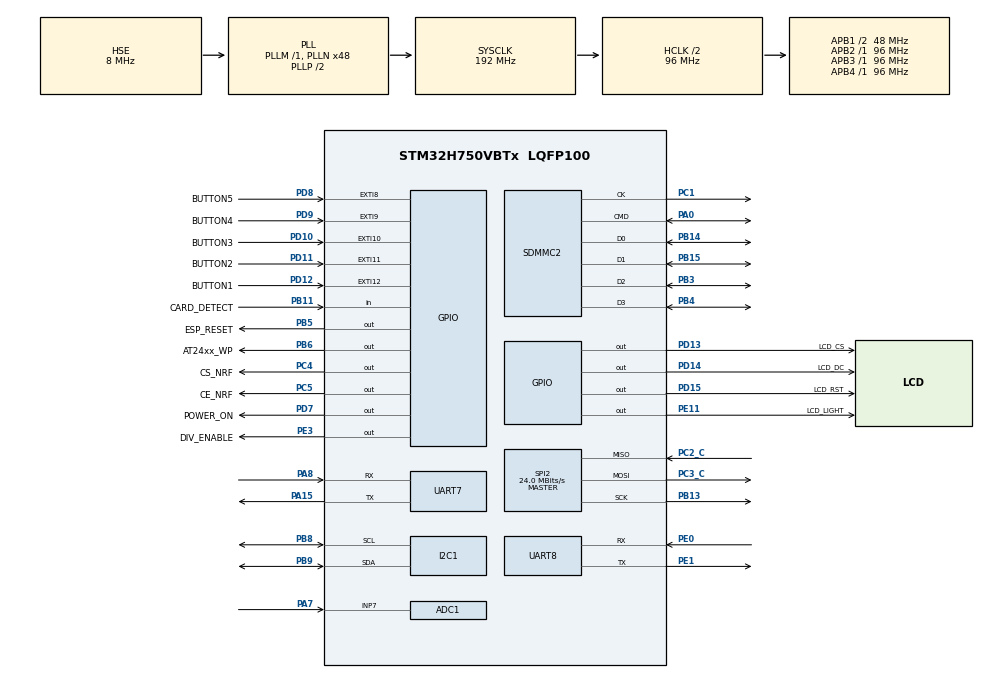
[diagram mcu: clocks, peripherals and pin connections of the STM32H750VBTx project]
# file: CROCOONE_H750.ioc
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ADC1.Channel-2\#ChannelRegularConversion=ADC_CHANNEL_7
ADC1.NbrOfConversionFlag=1
ADC1.OffsetNumber-2\#ChannelRegularConversion=ADC_OFFSET_NONE
ADC1.OffsetSignedSaturation-2\#ChannelRegularConversion=DISABLE
ADC1.Rank-2\#ChannelRegularConversion=1
ADC1.SamplingTime-2\#ChannelRegularConversion=ADC_SAMPLETIME_1CYCLE_5
ADC1.master=1
FATFS.BSP.number=1
FATFS._FS_EXFAT=1
FATFS._USE_LFN=2
FATFS0.BSP.STBoard=false
FATFS0.BSP.api=Unknown
FATFS0.BSP.instance=PB11
FATFS0.BSP.ip=GPIO
FATFS0.BSP.mode=Input
FATFS0.BSP.name=Detect_SDIO
FATFS0.BSP.solution=PB11
I2C1.Timing=0x20303E5D
Mcu.Family=STM32H7
Mcu.Name=STM32H750VBTx
Mcu.Package=LQFP100
NVIC.EXTI15_10_IRQn=true\:1\:0\:true\:false\:true\:true\:true\:true
NVIC.EXTI9_5_IRQn=true\:1\:0\:true\:false\:true\:true\:true\:true
NVIC.PriorityGroup=NVIC_PRIORITYGROUP_4
NVIC.TIM2_IRQn=true\:2\:0\:true\:false\:true\:true\:true\:true
NVIC.UART8_IRQn=true\:3\:0\:true\:false\:true\:true\:true\:true
PA0.Mode=SD_4_bits_Wide_bus
PA0.Signal=SDMMC2_CMD
PA13\ (JTMS/SWDIO).Mode=Serial_Wire
PA13\ (JTMS/SWDIO).Signal=DEBUG_JTMS-SWDIO
PA14\ (JTCK/SWCLK).Mode=Serial_Wire
PA14\ (JTCK/SWCLK).Signal=DEBUG_JTCK-SWCLK
PA15\ (JTDI).Mode=Asynchronous
PA15\ (JTDI).Signal=UART7_TX
PA7.Signal=ADCx_INP7
PA8.Mode=Asynchronous
PA8.Signal=UART7_RX
PB11.GPIO_Label=CARD_DETECT
PB11.GPIO_PuPd=GPIO_PULLUP
PB11.Signal=GPIO_Input
PB13.Mode=Full_Duplex_Master
PB13.Signal=SPI2_SCK
PB14.Mode=SD_4_bits_Wide_bus
PB14.Signal=SDMMC2_D0
PB15.Mode=SD_4_bits_Wide_bus
PB15.Signal=SDMMC2_D1
PB3\ (JTDO/TRACESWO).Mode=SD_4_bits_Wide_bus
PB3\ (JTDO/TRACESWO).Signal=SDMMC2_D2
PB4\ (NJTRST).Mode=SD_4_bits_Wide_bus
PB4\ (NJTRST).Signal=SDMMC2_D3
PB5.GPIO_Label=ESP_RESET
PB5.Signal=GPIO_Output
PB6.GPIO_Label=AT24xx_WP
PB6.GPIO_PuPd=GPIO_PULLUP
PB6.PinState=GPIO_PIN_SET
PB6.Signal=GPIO_Output
PB8.Mode=I2C
PB8.Signal=I2C1_SCL
PB9.Mode=I2C
PB9.Signal=I2C1_SDA
PC1.Mode=SD_4_bits_Wide_bus
PC1.Signal=SDMMC2_CK
PC2_C.Mode=Full_Duplex_Master
PC2_C.Signal=SPI2_MISO
PC3_C.Mode=Full_Duplex_Master
PC3_C.Signal=SPI2_MOSI
PC4.GPIO_Label=CS_NRF
PC4.Signal=GPIO_Output
PC5.GPIO_Label=CE_NRF
PC5.Signal=GPIO_Output
PD10.GPIO_Label=BUTTON3
PD10.GPIO_ModeDefaultEXTI=GPIO_MODE_IT_FALLING
PD10.GPIO_PuPd=GPIO_PULLUP
PD10.Signal=GPXTI10
PD11.GPIO_Label=BUTTON2
PD11.GPIO_ModeDefaultEXTI=GPIO_MODE_IT_FALLING
PD11.GPIO_PuPd=GPIO_PULLUP
PD11.Signal=GPXTI11
PD12.GPIO_Label=BUTTON1
PD12.GPIO_ModeDefaultEXTI=GPIO_MODE_IT_FALLING
PD12.GPIO_PuPd=GPIO_PULLUP
PD12.Signal=GPXTI12
PD13.GPIO_Label=LCD_CS
PD13.Signal=GPIO_Output
PD14.GPIO_Label=LCD_DC
PD14.Signal=GPIO_Output
PD15.GPIO_Label=LCD_RST
PD15.Signal=GPIO_Output
PD7.GPIO_Label=POWER_ON
PD7.Signal=GPIO_Output
PD8.GPIO_Label=BUTTON5
PD8.GPIO_ModeDefaultEXTI=GPIO_MODE_IT_FALLING
PD8.GPIO_PuPd=GPIO_PULLUP
PD8.Signal=GPXTI8
PD9.GPIO_Label=BUTTON4
PD9.GPIO_ModeDefaultEXTI=GPIO_MODE_IT_FALLING
PD9.GPIO_PuPd=GPIO_PULLUP
PD9.Signal=GPXTI9
PE0.Mode=Asynchronous
PE0.Signal=UART8_RX
PE1.Mode=Asynchronous
PE1.Signal=UART8_TX
PE11.GPIO_Label=LCD_LIGHT
PE11.Signal=GPIO_Output
PE3.GPIO_Label=DIV_ENABLE
PE3.GPIO_PuPd=GPIO_PULLUP
PE3.PinState=GPIO_PIN_SET
PE3.Signal=GPIO_Output
PH0-OSC_IN\ (PH0).Mode=HSE-External-Oscillator
PH0-OSC_IN\ (PH0).Signal=RCC_OSC_IN
PH1-OSC_OUT\ (PH1).Mode=HSE-External-Oscillator
PH1-OSC_OUT\ (PH1).Signal=RCC_OSC_OUT
ProjectManager.HeapSize=0x200
ProjectManager.StackSize=0x400
ProjectManager.TargetToolchain=STM32CubeIDE
RCC.ADCFreq_Value=12000000
RCC.APB1Freq_Value=48000000
RCC.APB2Freq_Value=96000000
RCC.APB3Freq_Value=96000000
RCC.APB4Freq_Value=96000000
RCC.CortexFreq_Value=192000000
RCC.D2PPRE1=RCC_APB1_DIV2
RCC.DIVM1=1
RCC.DIVM2=4
RCC.DIVN1=48
RCC.DIVN2=96
RCC.DIVP2=16
RCC.DIVQ1=4
RCC.HCLKFreq_Value=96000000
RCC.HPRE=RCC_HCLK_DIV2
RCC.HSE_VALUE=8000000
RCC.PLLFRACN=0
RCC.PLLSourceVirtual=RCC_PLLSOURCE_HSE
RCC.SYSCLKFreq_VALUE=192000000
RCC.SYSCLKSource=RCC_SYSCLKSOURCE_PLLCLK
RCC.USBFreq_Value=96000000
SDMMC2.ClockDiv=8
SH.ADCx_INP7.0=ADC1_INP7,IN7-Single-Ended
SPI2.BaudRatePrescaler=SPI_BAUDRATEPRESCALER_4
SPI2.CalculateBaudRate=24.0 MBits/s
SPI2.DataSize=SPI_DATASIZE_8BIT
SPI2.Direction=SPI_DIRECTION_2LINES
SPI2.Mode=SPI_MODE_MASTER
SPI2.VirtualType=VM_MASTER
TIM1.Prescaler=96-1
TIM2.Period=10000
TIM2.Prescaler=960-1
VP_FATFS_VS_SDIO.Mode=SDIO
VP_TIM1_VS_ClockSourceINT.Mode=Internal
VP_TIM2_VS_ClockSourceINT.Mode=Internal
board=custom

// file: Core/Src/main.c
/* USER CODE BEGIN Header */
/**
  ******************************************************************************
  * @file           : main.c
  * @brief          : Main program body
  ******************************************************************************
  * @attention
  *
  * Copyright (c) 2023 STMicroelectronics.
  * All rights reserved.
  *
  * This software is licensed under terms that can be found in the LICENSE file
  * in the root directory of this software component.
  * If no LICENSE file comes with this software, it is provided AS-IS.
  *
  ******************************************************************************
  */
/* USER CODE END Header */
#include "main.h"
#include "fatfs.h"

/* USER CODE BEGIN Includes */
#include "SETTINGS.h"
#include "ESP32_WiFi.h"
#include "GFX_FUNCTIONS.h"
#include "NRF_RADIO.h"
#include "button.h"
#include "EEPROM.h"

#include <stdbool.h>
#include <string.h>

#define POWER_SUPPLY_VOLTAGE		3.269f
#define ADC_MAX						0xFFFF
#define DIVIDER_R1 					10.04f
#define DIVIDER_R2 					18.05f
#define MIN_BATTERY_VOLTAGE 		3.0f
#define MAX_BATTERY_VOLTAGE 		4.2f

float batteryVoltage = 0;
uint16_t adcData = 0;
int batteryPercent = 0;
/* USER CODE END Includes */

ADC_HandleTypeDef hadc1;

I2C_HandleTypeDef hi2c1;

SD_HandleTypeDef hsd2;

SPI_HandleTypeDef hspi2;

TIM_HandleTypeDef htim1;
TIM_HandleTypeDef htim2;

UART_HandleTypeDef huart7;
UART_HandleTypeDef huart8;

void SystemClock_Config(void);
static void MX_GPIO_Init(void);
static void MX_SDMMC2_SD_Init(void);
static void MX_SPI2_Init(void);
static void MX_TIM1_Init(void);
static void MX_TIM2_Init(void);
static void MX_UART7_Init(void);
static void MX_UART8_Init(void);
static void MX_I2C1_Init(void);
static void MX_ADC1_Init(void);

/* USER CODE BEGIN 0 */
// External Interrupt ISR Handler CallBackFun

/* USER CODE END 0 */

int main(void)
{

  /* MCU Configuration--------------------------------------------------------*/

  /* Reset of all peripherals, Initializes the Flash interface and the Systick. */
  HAL_Init();

  /* Configure the system clock */
  SystemClock_Config();

  /* Initialize all configured peripherals */
  MX_GPIO_Init();
  MX_SDMMC2_SD_Init();
  MX_SPI2_Init();
  MX_TIM1_Init();
  MX_TIM2_Init();
  MX_UART7_Init();
  MX_UART8_Init();
  MX_FATFS_Init();
  MX_I2C1_Init();
  MX_ADC1_Init();
  /* USER CODE BEGIN 2 */

  HAL_GPIO_WritePin(POWER_ON_GPIO_Port, POWER_ON_Pin, GPIO_PIN_SET); //power on
  HAL_Delay(50);

  HAL_GPIO_WritePin(LCD_LIGHT_GPIO_Port, LCD_LIGHT_Pin, GPIO_PIN_RESET);
  ST7735_Init(1);
  fillScreen(MAIN_BG_COLOR);
  HAL_GPIO_WritePin(ESP_RESET_GPIO_Port, ESP_RESET_Pin, GPIO_PIN_SET);
  HAL_Delay(50);
  HAL_GPIO_WritePin(ESP_RESET_GPIO_Port, ESP_RESET_Pin, GPIO_PIN_RESET);
  HAL_GPIO_WritePin(LCD_LIGHT_GPIO_Port, LCD_LIGHT_Pin, GPIO_PIN_SET);

  ESP32_AT_UART_Init();
  Radio_Init();
  powerDown();
  ButtonsInit(5);
  AddButton(BUTTON_UP, BUTTON1_GPIO_Port, BUTTON1_Pin);
  AddButton(BUTTON_RIGHT, BUTTON2_GPIO_Port, BUTTON2_Pin);
  AddButton(BUTTON_CONFIRM, BUTTON3_GPIO_Port, BUTTON3_Pin);
  AddButton(BUTTON_LEFT, BUTTON4_GPIO_Port, BUTTON4_Pin);
  AddButton(BUTTON_DOWN, BUTTON5_GPIO_Port, BUTTON5_Pin);

  eeprom_init();

  int menu_set = 0;
  const int max_menu_set = 7;
  bool clear = 0;
  bool screen_update = 1;

  eButtonEvent button_up, button_down;
  uint32_t hold_timer = 0;

  char battery_persent_disp[10] = {};
  uint32_t tick_time = 0;
  /* USER CODE END 2 */

  /* Infinite loop */
  /* USER CODE BEGIN WHILE */
  while (1)
  {
		if (HAL_GetTick() - tick_time > 10000 || screen_update) {
			tick_time = HAL_GetTick();

			HAL_GPIO_WritePin(DIV_ENABLE_GPIO_Port, DIV_ENABLE_Pin, GPIO_PIN_RESET); //div enable

			HAL_ADC_Start(&hadc1);

			HAL_ADC_PollForConversion(&hadc1, 100);

			adcData = HAL_ADC_GetValue(&hadc1);

			HAL_ADC_Stop(&hadc1);

			HAL_GPIO_WritePin(DIV_ENABLE_GPIO_Port, DIV_ENABLE_Pin, GPIO_PIN_SET);

			batteryVoltage = POWER_SUPPLY_VOLTAGE * adcData / ADC_MAX;
			batteryVoltage = batteryVoltage / (DIVIDER_R2 / (DIVIDER_R1 + DIVIDER_R2));
			batteryPercent = (int)(((batteryVoltage - MIN_BATTERY_VOLTAGE) / (MAX_BATTERY_VOLTAGE  - MIN_BATTERY_VOLTAGE)) * 100.0f);
			if (batteryPercent < 0)
			  batteryPercent = 0;
			else if (batteryPercent > 100)
			  batteryPercent = 100;

			sprintf(battery_persent_disp, "%3d%%", batteryPercent);
			ST7735_WriteString(110, 0, battery_persent_disp, Font_11x18, MAIN_TXT_COLOR, MAIN_BG_COLOR);
		}

	    button_up = GetButtonState(BUTTON_UP);
	    button_down = GetButtonState(BUTTON_DOWN);

		if (button_down == SINGLE_CLICK || (button_down == HOLD && HAL_GetTick() - hold_timer > HOLD_MENU_DELLAY)) {
			menu_set = (menu_set + 1) % max_menu_set;
			screen_update = 1;

			hold_timer = HAL_GetTick();
		}
		if (button_up == SINGLE_CLICK || (button_up == HOLD && HAL_GetTick() - hold_timer > HOLD_MENU_DELLAY)) {
			menu_set = (menu_set - 1) % max_menu_set;
			if (menu_set < 0) menu_set = max_menu_set;
			screen_update = 1;

			hold_timer = HAL_GetTick();
		}

		if (clear) {
			fillScreen(MAIN_BG_COLOR);
			clear = 0;
		}

		if (screen_update) {
			sprintf(battery_persent_disp, "%3d%%", batteryPercent);
			ST7735_WriteString(0, 0, "CROCOONE", Font_11x18, MAIN_TXT_COLOR, MAIN_BG_COLOR);
			ST7735_WriteString(110, 0, battery_persent_disp, Font_11x18, MAIN_TXT_COLOR, MAIN_BG_COLOR);
			drawMenu((char * []) {"Scan WiFi", "Attacks", "Ch Analyzer", "Pkt Analyzer", "Jammer", "PMKID", "power off"}, max_menu_set, 1, 30, 159, 127, menu_set, Font_11x18, MAIN_TXT_COLOR, MAIN_BG_COLOR);
			drawRect(0, 29, 160, 99, MAIN_TXT_COLOR);
			screen_update = 0;
		}

		if (GetButtonState(BUTTON_CONFIRM) == SINGLE_CLICK) {
			clear = 1;
			if (menu_set == 0) {
				ESP32_scan_loop();
			} else if (menu_set == 1) {
				ESP32_attacks_loop();
			} else if (menu_set == 2) {
				NRF_ChannelAnalyzer_loop();
			} else if (menu_set == 3) {
				ESP32_pkt_analyzer_loop();
			} else if (menu_set == 4) {
				NRF_Jammer();
			} else if (menu_set == 5) {
				ESP32_start_pmkid_attack();
			} else if (menu_set == 6) {
				break;
			}
			ClearAllButtons();
			screen_update = 1;
		}

    /* USER CODE END WHILE */

    /* USER CODE BEGIN 3 */
  }
  HAL_GPIO_WritePin(LCD_LIGHT_GPIO_Port, LCD_LIGHT_Pin, GPIO_PIN_RESET);
  HAL_GPIO_WritePin(POWER_ON_GPIO_Port, POWER_ON_Pin, GPIO_PIN_RESET); //power off
  return 0;
  /* USER CODE END 3 */
}

void SystemClock_Config(void)
{
  RCC_OscInitTypeDef RCC_OscInitStruct = {0};
  RCC_ClkInitTypeDef RCC_ClkInitStruct = {0};

  /** Supply configuration update enable
  */
  HAL_PWREx_ConfigSupply(PWR_LDO_SUPPLY);

  /** Configure the main internal regulator output voltage
  */
  __HAL_PWR_VOLTAGESCALING_CONFIG(PWR_REGULATOR_VOLTAGE_SCALE3);

  while(!__HAL_PWR_GET_FLAG(PWR_FLAG_VOSRDY)) {}

  /** Initializes the RCC Oscillators according to the specified parameters
  * in the RCC_OscInitTypeDef structure.
  */
  RCC_OscInitStruct.OscillatorType = RCC_OSCILLATORTYPE_HSE;
  RCC_OscInitStruct.HSEState = RCC_HSE_ON;
  RCC_OscInitStruct.PLL.PLLState = RCC_PLL_ON;
  RCC_OscInitStruct.PLL.PLLSource = RCC_PLLSOURCE_HSE;
  RCC_OscInitStruct.PLL.PLLM = 1;
  RCC_OscInitStruct.PLL.PLLN = 48;
  RCC_OscInitStruct.PLL.PLLP = 2;
  RCC_OscInitStruct.PLL.PLLQ = 4;
  RCC_OscInitStruct.PLL.PLLR = 2;
  RCC_OscInitStruct.PLL.PLLRGE = RCC_PLL1VCIRANGE_3;
  RCC_OscInitStruct.PLL.PLLVCOSEL = RCC_PLL1VCOWIDE;
  RCC_OscInitStruct.PLL.PLLFRACN = 0;
  if (HAL_RCC_OscConfig(&RCC_OscInitStruct) != HAL_OK)
  {
    Error_Handler();
  }

  /** Initializes the CPU, AHB and APB buses clocks
  */
  RCC_ClkInitStruct.ClockType = RCC_CLOCKTYPE_HCLK|RCC_CLOCKTYPE_SYSCLK
                              |RCC_CLOCKTYPE_PCLK1|RCC_CLOCKTYPE_PCLK2
                              |RCC_CLOCKTYPE_D3PCLK1|RCC_CLOCKTYPE_D1PCLK1;
  RCC_ClkInitStruct.SYSCLKSource = RCC_SYSCLKSOURCE_PLLCLK;
  RCC_ClkInitStruct.SYSCLKDivider = RCC_SYSCLK_DIV1;
  RCC_ClkInitStruct.AHBCLKDivider = RCC_HCLK_DIV2;
  RCC_ClkInitStruct.APB3CLKDivider = RCC_APB3_DIV1;
  RCC_ClkInitStruct.APB1CLKDivider = RCC_APB1_DIV2;
  RCC_ClkInitStruct.APB2CLKDivider = RCC_APB2_DIV1;
  RCC_ClkInitStruct.APB4CLKDivider = RCC_APB4_DIV1;

  if (HAL_RCC_ClockConfig(&RCC_ClkInitStruct, FLASH_LATENCY_2) != HAL_OK)
  {
    Error_Handler();
  }
}

static void MX_ADC1_Init(void)
{

  ADC_MultiModeTypeDef multimode = {0};
  ADC_ChannelConfTypeDef sConfig = {0};

  /** Common config
  */
  hadc1.Instance = ADC1;
  hadc1.Init.ClockPrescaler = ADC_CLOCK_ASYNC_DIV1;
  hadc1.Init.Resolution = ADC_RESOLUTION_16B;
  hadc1.Init.ScanConvMode = ADC_SCAN_DISABLE;
  hadc1.Init.EOCSelection = ADC_EOC_SINGLE_CONV;
  hadc1.Init.LowPowerAutoWait = DISABLE;
  hadc1.Init.ContinuousConvMode = DISABLE;
  hadc1.Init.NbrOfConversion = 1;
  hadc1.Init.DiscontinuousConvMode = DISABLE;
  hadc1.Init.ExternalTrigConv = ADC_SOFTWARE_START;
  hadc1.Init.ExternalTrigConvEdge = ADC_EXTERNALTRIGCONVEDGE_NONE;
  hadc1.Init.ConversionDataManagement = ADC_CONVERSIONDATA_DR;
  hadc1.Init.Overrun = ADC_OVR_DATA_PRESERVED;
  hadc1.Init.LeftBitShift = ADC_LEFTBITSHIFT_NONE;
  hadc1.Init.OversamplingMode = DISABLE;
  if (HAL_ADC_Init(&hadc1) != HAL_OK)
  {
    Error_Handler();
  }

  /** Configure the ADC multi-mode
  */
  multimode.Mode = ADC_MODE_INDEPENDENT;
  if (HAL_ADCEx_MultiModeConfigChannel(&hadc1, &multimode) != HAL_OK)
  {
    Error_Handler();
  }

  /** Configure Regular Channel
  */
  sConfig.Channel = ADC_CHANNEL_7;
  sConfig.Rank = ADC_REGULAR_RANK_1;
  sConfig.SamplingTime = ADC_SAMPLETIME_1CYCLE_5;
  sConfig.SingleDiff = ADC_SINGLE_ENDED;
  sConfig.OffsetNumber = ADC_OFFSET_NONE;
  sConfig.Offset = 0;
  sConfig.OffsetSignedSaturation = DISABLE;
  if (HAL_ADC_ConfigChannel(&hadc1, &sConfig) != HAL_OK)
  {
    Error_Handler();
  }

}

static void MX_I2C1_Init(void)
{

  hi2c1.Instance = I2C1;
  hi2c1.Init.Timing = 0x20303E5D;
  hi2c1.Init.OwnAddress1 = 0;
  hi2c1.Init.AddressingMode = I2C_ADDRESSINGMODE_7BIT;
  hi2c1.Init.DualAddressMode = I2C_DUALADDRESS_DISABLE;
  hi2c1.Init.OwnAddress2 = 0;
  hi2c1.Init.OwnAddress2Masks = I2C_OA2_NOMASK;
  hi2c1.Init.GeneralCallMode = I2C_GENERALCALL_DISABLE;
  hi2c1.Init.NoStretchMode = I2C_NOSTRETCH_DISABLE;
  if (HAL_I2C_Init(&hi2c1) != HAL_OK)
  {
    Error_Handler();
  }

  /** Configure Analogue filter
  */
  if (HAL_I2CEx_ConfigAnalogFilter(&hi2c1, I2C_ANALOGFILTER_ENABLE) != HAL_OK)
  {
    Error_Handler();
  }

  /** Configure Digital filter
  */
  if (HAL_I2CEx_ConfigDigitalFilter(&hi2c1, 0) != HAL_OK)
  {
    Error_Handler();
  }

}

static void MX_SDMMC2_SD_Init(void)
{

  hsd2.Instance = SDMMC2;
  hsd2.Init.ClockEdge = SDMMC_CLOCK_EDGE_RISING;
  hsd2.Init.ClockPowerSave = SDMMC_CLOCK_POWER_SAVE_DISABLE;
  hsd2.Init.BusWide = SDMMC_BUS_WIDE_4B;
  hsd2.Init.HardwareFlowControl = SDMMC_HARDWARE_FLOW_CONTROL_DISABLE;
  hsd2.Init.ClockDiv = 8;

}

static void MX_SPI2_Init(void)
{

  /* SPI2 parameter configuration*/
  hspi2.Instance = SPI2;
  hspi2.Init.Mode = SPI_MODE_MASTER;
  hspi2.Init.Direction = SPI_DIRECTION_2LINES;
  hspi2.Init.DataSize = SPI_DATASIZE_8BIT;
  hspi2.Init.CLKPolarity = SPI_POLARITY_LOW;
  hspi2.Init.CLKPhase = SPI_PHASE_1EDGE;
  hspi2.Init.NSS = SPI_NSS_SOFT;
  hspi2.Init.BaudRatePrescaler = SPI_BAUDRATEPRESCALER_4;
  hspi2.Init.FirstBit = SPI_FIRSTBIT_MSB;
  hspi2.Init.TIMode = SPI_TIMODE_DISABLE;
  hspi2.Init.CRCCalculation = SPI_CRCCALCULATION_DISABLE;
  hspi2.Init.CRCPolynomial = 0x0;
  hspi2.Init.NSSPMode = SPI_NSS_PULSE_ENABLE;
  hspi2.Init.NSSPolarity = SPI_NSS_POLARITY_LOW;
  hspi2.Init.FifoThreshold = SPI_FIFO_THRESHOLD_01DATA;
  hspi2.Init.TxCRCInitializationPattern = SPI_CRC_INITIALIZATION_ALL_ZERO_PATTERN;
  hspi2.Init.RxCRCInitializationPattern = SPI_CRC_INITIALIZATION_ALL_ZERO_PATTERN;
  hspi2.Init.MasterSSIdleness = SPI_MASTER_SS_IDLENESS_00CYCLE;
  hspi2.Init.MasterInterDataIdleness = SPI_MASTER_INTERDATA_IDLENESS_00CYCLE;
  hspi2.Init.MasterReceiverAutoSusp = SPI_MASTER_RX_AUTOSUSP_DISABLE;
  hspi2.Init.MasterKeepIOState = SPI_MASTER_KEEP_IO_STATE_DISABLE;
  hspi2.Init.IOSwap = SPI_IO_SWAP_DISABLE;
  if (HAL_SPI_Init(&hspi2) != HAL_OK)
  {
    Error_Handler();
  }

}

static void MX_TIM1_Init(void)
{

  TIM_ClockConfigTypeDef sClockSourceConfig = {0};
  TIM_MasterConfigTypeDef sMasterConfig = {0};

  htim1.Instance = TIM1;
  htim1.Init.Prescaler = 96-1;
  htim1.Init.CounterMode = TIM_COUNTERMODE_UP;
  htim1.Init.Period = 65535;
  htim1.Init.ClockDivision = TIM_CLOCKDIVISION_DIV1;
  htim1.Init.RepetitionCounter = 0;
  htim1.Init.AutoReloadPreload = TIM_AUTORELOAD_PRELOAD_DISABLE;
  if (HAL_TIM_Base_Init(&htim1) != HAL_OK)
  {
    Error_Handler();
  }
  sClockSourceConfig.ClockSource = TIM_CLOCKSOURCE_INTERNAL;
  if (HAL_TIM_ConfigClockSource(&htim1, &sClockSourceConfig) != HAL_OK)
  {
    Error_Handler();
  }
  sMasterConfig.MasterOutputTrigger = TIM_TRGO_RESET;
  sMasterConfig.MasterOutputTrigger2 = TIM_TRGO2_RESET;
  sMasterConfig.MasterSlaveMode = TIM_MASTERSLAVEMODE_DISABLE;
  if (HAL_TIMEx_MasterConfigSynchronization(&htim1, &sMasterConfig) != HAL_OK)
  {
    Error_Handler();
  }

}

static void MX_TIM2_Init(void)
{

  TIM_ClockConfigTypeDef sClockSourceConfig = {0};
  TIM_MasterConfigTypeDef sMasterConfig = {0};

  htim2.Instance = TIM2;
  htim2.Init.Prescaler = 960-1;
  htim2.Init.CounterMode = TIM_COUNTERMODE_UP;
  htim2.Init.Period = 10000;
  htim2.Init.ClockDivision = TIM_CLOCKDIVISION_DIV1;
  htim2.Init.AutoReloadPreload = TIM_AUTORELOAD_PRELOAD_DISABLE;
  if (HAL_TIM_Base_Init(&htim2) != HAL_OK)
  {
    Error_Handler();
  }
  sClockSourceConfig.ClockSource = TIM_CLOCKSOURCE_INTERNAL;
  if (HAL_TIM_ConfigClockSource(&htim2, &sClockSourceConfig) != HAL_OK)
  {
    Error_Handler();
  }
  sMasterConfig.MasterOutputTrigger = TIM_TRGO_RESET;
  sMasterConfig.MasterSlaveMode = TIM_MASTERSLAVEMODE_DISABLE;
  if (HAL_TIMEx_MasterConfigSynchronization(&htim2, &sMasterConfig) != HAL_OK)
  {
    Error_Handler();
  }

}

static void MX_UART7_Init(void)
{

  huart7.Instance = UART7;
  huart7.Init.BaudRate = 115200;
  huart7.Init.WordLength = UART_WORDLENGTH_8B;
  huart7.Init.StopBits = UART_STOPBITS_1;
  huart7.Init.Parity = UART_PARITY_NONE;
  huart7.Init.Mode = UART_MODE_TX_RX;
  huart7.Init.HwFlowCtl = UART_HWCONTROL_NONE;
  huart7.Init.OverSampling = UART_OVERSAMPLING_16;
  huart7.Init.OneBitSampling = UART_ONE_BIT_SAMPLE_DISABLE;
  huart7.Init.ClockPrescaler = UART_PRESCALER_DIV1;
  huart7.AdvancedInit.AdvFeatureInit = UART_ADVFEATURE_NO_INIT;
  if (HAL_UART_Init(&huart7) != HAL_OK)
  {
    Error_Handler();
  }
  if (HAL_UARTEx_SetTxFifoThreshold(&huart7, UART_TXFIFO_THRESHOLD_1_8) != HAL_OK)
  {
    Error_Handler();
  }
  if (HAL_UARTEx_SetRxFifoThreshold(&huart7, UART_RXFIFO_THRESHOLD_1_8) != HAL_OK)
  {
    Error_Handler();
  }
  if (HAL_UARTEx_DisableFifoMode(&huart7) != HAL_OK)
  {
    Error_Handler();
  }

}

static void MX_UART8_Init(void)
{

  huart8.Instance = UART8;
  huart8.Init.BaudRate = 115200;
  huart8.Init.WordLength = UART_WORDLENGTH_8B;
  huart8.Init.StopBits = UART_STOPBITS_1;
  huart8.Init.Parity = UART_PARITY_NONE;
  huart8.Init.Mode = UART_MODE_TX_RX;
  huart8.Init.HwFlowCtl = UART_HWCONTROL_NONE;
  huart8.Init.OverSampling = UART_OVERSAMPLING_16;
  huart8.Init.OneBitSampling = UART_ONE_BIT_SAMPLE_DISABLE;
  huart8.Init.ClockPrescaler = UART_PRESCALER_DIV1;
  huart8.AdvancedInit.AdvFeatureInit = UART_ADVFEATURE_NO_INIT;
  if (HAL_UART_Init(&huart8) != HAL_OK)
  {
    Error_Handler();
  }
  if (HAL_UARTEx_SetTxFifoThreshold(&huart8, UART_TXFIFO_THRESHOLD_1_8) != HAL_OK)
  {
    Error_Handler();
  }
  if (HAL_UARTEx_SetRxFifoThreshold(&huart8, UART_RXFIFO_THRESHOLD_1_8) != HAL_OK)
  {
    Error_Handler();
  }
  if (HAL_UARTEx_DisableFifoMode(&huart8) != HAL_OK)
  {
    Error_Handler();
  }

}

static void MX_GPIO_Init(void)
{
  GPIO_InitTypeDef GPIO_InitStruct = {0};

  /* GPIO Ports Clock Enable */
  __HAL_RCC_GPIOE_CLK_ENABLE();
  __HAL_RCC_GPIOH_CLK_ENABLE();
  __HAL_RCC_GPIOC_CLK_ENABLE();
  __HAL_RCC_GPIOA_CLK_ENABLE();
  __HAL_RCC_GPIOB_CLK_ENABLE();
  __HAL_RCC_GPIOD_CLK_ENABLE();

  /*Configure GPIO pin Output Level */
  HAL_GPIO_WritePin(DIV_ENABLE_GPIO_Port, DIV_ENABLE_Pin, GPIO_PIN_SET);

  /*Configure GPIO pin Output Level */
  HAL_GPIO_WritePin(GPIOC, CS_NRF_Pin|CE_NRF_Pin, GPIO_PIN_RESET);

  /*Configure GPIO pin Output Level */
  HAL_GPIO_WritePin(LCD_LIGHT_GPIO_Port, LCD_LIGHT_Pin, GPIO_PIN_RESET);

  /*Configure GPIO pin Output Level */
  HAL_GPIO_WritePin(GPIOD, LCD_CS_Pin|LCD_DC_Pin|LCD_RST_Pin|POWER_ON_Pin, GPIO_PIN_RESET);

  /*Configure GPIO pin Output Level */
  HAL_GPIO_WritePin(ESP_RESET_GPIO_Port, ESP_RESET_Pin, GPIO_PIN_RESET);

  /*Configure GPIO pin Output Level */
  HAL_GPIO_WritePin(AT24xx_WP_GPIO_Port, AT24xx_WP_Pin, GPIO_PIN_SET);

  /*Configure GPIO pin : DIV_ENABLE_Pin */
  GPIO_InitStruct.Pin = DIV_ENABLE_Pin;
  GPIO_InitStruct.Mode = GPIO_MODE_OUTPUT_PP;
  GPIO_InitStruct.Pull = GPIO_PULLUP;
  GPIO_InitStruct.Speed = GPIO_SPEED_FREQ_LOW;
  HAL_GPIO_Init(DIV_ENABLE_GPIO_Port, &GPIO_InitStruct);

  /*Configure GPIO pins : CS_NRF_Pin CE_NRF_Pin */
  GPIO_InitStruct.Pin = CS_NRF_Pin|CE_NRF_Pin;
  GPIO_InitStruct.Mode = GPIO_MODE_OUTPUT_PP;
  GPIO_InitStruct.Pull = GPIO_NOPULL;
  GPIO_InitStruct.Speed = GPIO_SPEED_FREQ_LOW;
  HAL_GPIO_Init(GPIOC, &GPIO_InitStruct);

  /*Configure GPIO pin : LCD_LIGHT_Pin */
  GPIO_InitStruct.Pin = LCD_LIGHT_Pin;
  GPIO_InitStruct.Mode = GPIO_MODE_OUTPUT_PP;
  GPIO_InitStruct.Pull = GPIO_NOPULL;
  GPIO_InitStruct.Speed = GPIO_SPEED_FREQ_LOW;
  HAL_GPIO_Init(LCD_LIGHT_GPIO_Port, &GPIO_InitStruct);

  /*Configure GPIO pin : CARD_DETECT_Pin */
  GPIO_InitStruct.Pin = CARD_DETECT_Pin;
  GPIO_InitStruct.Mode = GPIO_MODE_INPUT;
  GPIO_InitStruct.Pull = GPIO_PULLUP;
  HAL_GPIO_Init(CARD_DETECT_GPIO_Port, &GPIO_InitStruct);

  /*Configure GPIO pins : BUTTON5_Pin BUTTON4_Pin BUTTON3_Pin BUTTON2_Pin
                           BUTTON1_Pin */
  GPIO_InitStruct.Pin = BUTTON5_Pin|BUTTON4_Pin|BUTTON3_Pin|BUTTON2_Pin
                          |BUTTON1_Pin;
  GPIO_InitStruct.Mode = GPIO_MODE_IT_FALLING;
  GPIO_InitStruct.Pull = GPIO_PULLUP;
  HAL_GPIO_Init(GPIOD, &GPIO_InitStruct);

  /*Configure GPIO pins : LCD_CS_Pin LCD_DC_Pin LCD_RST_Pin POWER_ON_Pin */
  GPIO_InitStruct.Pin = LCD_CS_Pin|LCD_DC_Pin|LCD_RST_Pin|POWER_ON_Pin;
  GPIO_InitStruct.Mode = GPIO_MODE_OUTPUT_PP;
  GPIO_InitStruct.Pull = GPIO_NOPULL;
  GPIO_InitStruct.Speed = GPIO_SPEED_FREQ_LOW;
  HAL_GPIO_Init(GPIOD, &GPIO_InitStruct);

  /*Configure GPIO pin : ESP_RESET_Pin */
  GPIO_InitStruct.Pin = ESP_RESET_Pin;
  GPIO_InitStruct.Mode = GPIO_MODE_OUTPUT_PP;
  GPIO_InitStruct.Pull = GPIO_NOPULL;
  GPIO_InitStruct.Speed = GPIO_SPEED_FREQ_LOW;
  HAL_GPIO_Init(ESP_RESET_GPIO_Port, &GPIO_InitStruct);

  /*Configure GPIO pin : AT24xx_WP_Pin */
  GPIO_InitStruct.Pin = AT24xx_WP_Pin;
  GPIO_InitStruct.Mode = GPIO_MODE_OUTPUT_PP;
  GPIO_InitStruct.Pull = GPIO_PULLUP;
  GPIO_InitStruct.Speed = GPIO_SPEED_FREQ_LOW;
  HAL_GPIO_Init(AT24xx_WP_GPIO_Port, &GPIO_InitStruct);

  /* EXTI interrupt init*/
  HAL_NVIC_SetPriority(EXTI9_5_IRQn, 1, 0);
  HAL_NVIC_EnableIRQ(EXTI9_5_IRQn);

  HAL_NVIC_SetPriority(EXTI15_10_IRQn, 1, 0);
  HAL_NVIC_EnableIRQ(EXTI15_10_IRQn);

}

void Error_Handler(void)
{
  __disable_irq();
  while (1)
  {
  }
}
